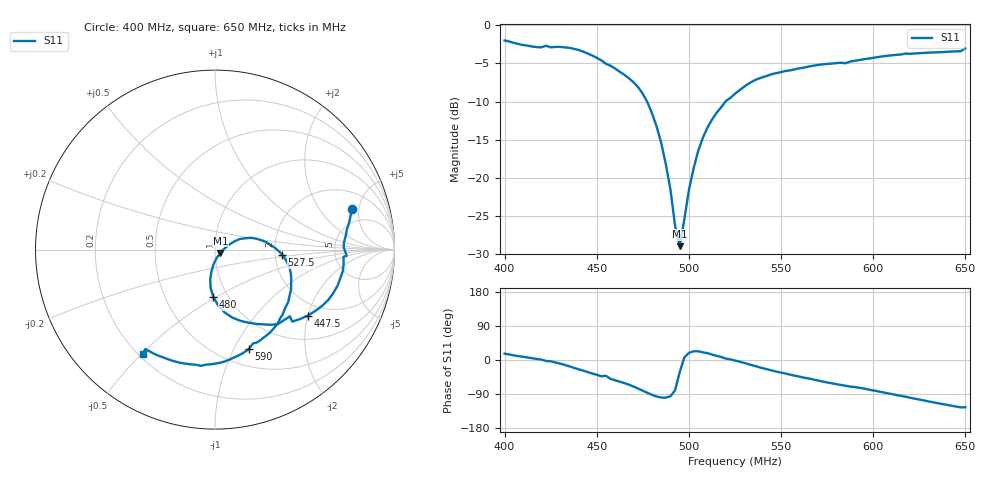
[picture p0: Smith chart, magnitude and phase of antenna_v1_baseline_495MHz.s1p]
# HZ S RI R 50
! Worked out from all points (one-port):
!   101 points, 400 MHz to 650 MHz, reference 50 ohm
!   lowest |S11| = -29.0 dB at 495 MHz (marker M1), VSWR 1.07, Z = 53.1 - j2.01 ohm
!   |S11| at or under -10 dB: 477.3 MHz to 519.8 MHz (42.56 MHz wide, 8.54 % of centre)
!   S11 on the Smith chart (normalised r, x): 400 MHz: 3.37, +4.19; 447.5 MHz: 1.62, -1.99; 480 MHz: 0.86, -0.49; 527.5 MHz: 2.19, -0.15; 590 MHz: 0.68, -1.15; 650 MHz: 0.22, -0.50
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4e8  0.7617 0.2287
4.25e8  0.7155 -0.0405
4.325e8  0.6987 -0.1581
4.475e8  0.5159 -0.3681
4.525e8  0.4306 -0.4012
4.55e8  0.4174 -0.3718
4.625e8  0.2682 -0.4163
4.725e8  0.0981 -0.3797
4.8e8  -0.00883 -0.2642
4.85e8  -0.0268 -0.1664
4.875e8  -0.0195 -0.1206
4.9e8  -0.00836 -0.083
4.925e8  0.00866 -0.0475
4.95e8  0.0302 -0.0189
5e8  0.0787 0.0269
5.05e8  0.1378 0.0589
5.075e8  0.1709 0.0633
5.15e8  0.2617 0.051
5.25e8  0.3557 -0.00886
5.275e8  0.3746 -0.0287
5.4e8  0.4246 -0.168
5.575e8  0.3852 -0.3408
5.875e8  0.1956 -0.5445
5.9e8  0.1877 -0.5542
6.05e8  0.0542 -0.6231
6.2e8  -0.1093 -0.6409
6.475e8  -0.3885 -0.554
6.5e8  -0.4027 -0.5823
